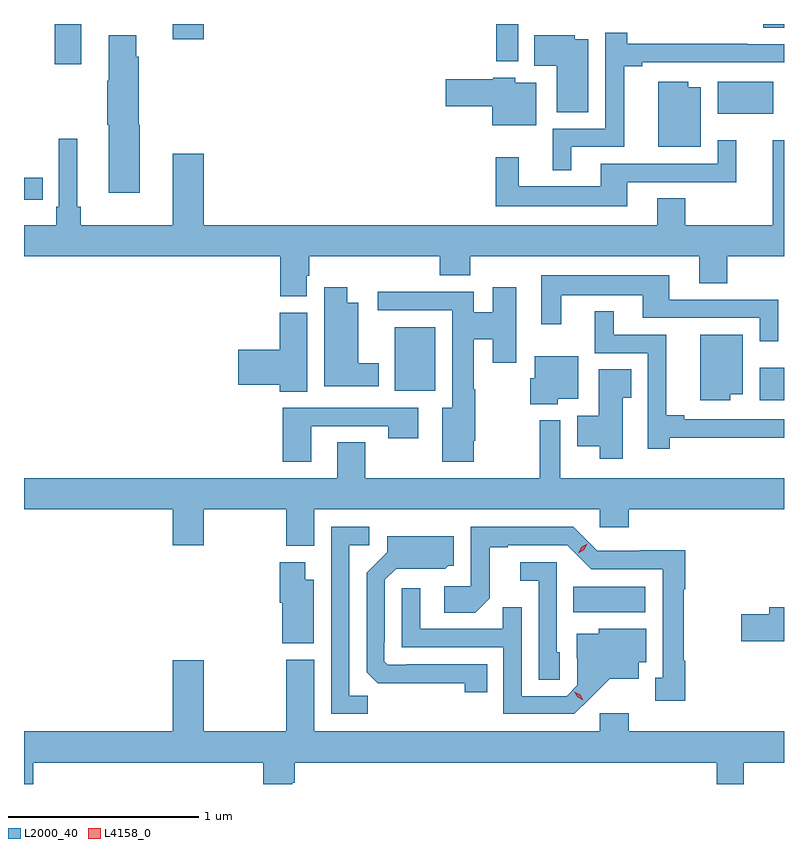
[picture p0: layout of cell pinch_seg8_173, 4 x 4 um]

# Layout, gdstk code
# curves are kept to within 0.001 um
import gdstk
lib = gdstk.Library(unit=1e-6, precision=1e-09)
def R(c, l, rs):  # rectangles x0, y0, x1, y1
    for r in rs: c.add(gdstk.rectangle(r[:2], r[2:], *l))
def P(c, l, *ps):  # polygons
    for p in ps: c.add(gdstk.Polygon(p, *l))
L2000_40 = (2000, 40)
L4158_0 = (4158, 0)

pinch_seg8_173 = lib.new_cell('pinch_seg8_173')
R(pinch_seg8_173, L2000_40, [(694.588,1146.596,694.969,1146.73), (695.57,1147.712,695.698,1147.882), (693.65,1147.76,693.862,1148.095), (691.698,1148.766,691.796,1148.882), (695.348,1149.218,695.641,1149.388), (691.859,1149.48,691.999,1149.691), (694.183,1149.494,694.299,1149.691), (692.48,1149.612,692.644,1149.691), (695.588,1149.67,695.698,1149.691)])
P(pinch_seg8_173, L2000_40, [(694.579,1149.045),(694.856,1149.045),(694.856,1149.469),(694.951,1149.469),(694.951,1149.489),(695.698,1149.489),(695.698,1149.585),(695.504,1149.585),(695.504,1149.587),(694.874,1149.587),(694.874,1149.646),(694.758,1149.646),(694.758,1149.141),(694.481,1149.141),(694.481,1148.921),(694.579,1148.921)],
  [(692.308,1149.162),(692.303,1149.162),(692.303,1149.518),(692.29,1149.518),(692.29,1149.631),(692.144,1149.631),(692.144,1149.392),(692.137,1149.392),(692.137,1149.162),(692.144,1149.162),(692.144,1148.804),(692.308,1148.804)],
  [(694.669,1149.61),(694.596,1149.61),(694.596,1149.631),(694.384,1149.631),(694.384,1149.47),(694.502,1149.47),(694.502,1149.226),(694.669,1149.226)],
  [(694.393,1149.382),(694.284,1149.382),(694.284,1149.409),(694.167,1149.409),(694.167,1149.399),(693.918,1149.399),(693.918,1149.257),(694.163,1149.257),(694.163,1149.158),(694.393,1149.158)],
  [(695.26,1149.358),(695.194,1149.358),(695.194,1149.388),(695.036,1149.388),(695.036,1149.044),(695.26,1149.044)],
  [(693.187,1148.367),(693.2,1148.367),(693.2,1148.468),(693.887,1148.468),(693.887,1148.369),(694.047,1148.369),(694.047,1148.468),(695.252,1148.468),(695.252,1148.326),(695.4,1148.326),(695.4,1148.468),(695.698,1148.468),(695.698,1149.079),(695.639,1149.079),(695.639,1148.632),(695.178,1148.632),(695.178,1148.774),(695.03,1148.774),(695.03,1148.632),(692.644,1148.632),(692.644,1149.007),(692.48,1149.007),(692.48,1148.632),(691.997,1148.632),(691.997,1148.728),(691.978,1148.728),(691.978,1149.088),(691.881,1149.088),(691.881,1148.728),(691.868,1148.728),(691.868,1148.632),(691.698,1148.632),(691.698,1148.468),(693.047,1148.468),(693.047,1148.257),(693.187,1148.257)],
  [(694.873,1148.859),(695.447,1148.859),(695.447,1149.079),(695.349,1149.079),(695.349,1148.955),(694.733,1148.955),(694.733,1148.836),(694.303,1148.836),(694.303,1148.989),(694.182,1148.989),(694.182,1148.732),(694.873,1148.732)],
  [(695.669,1148.241),(695.095,1148.241),(695.095,1148.368),(694.421,1148.368),(694.421,1148.112),(694.525,1148.112),(694.525,1148.264),(694.955,1148.264),(694.955,1148.145),(695.571,1148.145),(695.571,1148.022),(695.669,1148.022)],
  [(694.066,1147.498),(694.074,1147.498),(694.074,1147.768),(694.066,1147.768),(694.066,1148.033),(694.166,1148.033),(694.166,1147.908),(694.288,1147.908),(694.288,1148.305),(694.166,1148.305),(694.166,1148.175),(694.066,1148.175),(694.066,1148.282),(693.561,1148.282),(693.561,1148.184),(693.953,1148.184),(693.953,1147.672),(693.899,1147.672),(693.899,1147.386),(694.066,1147.386)],
  [(693.565,1147.906),(693.457,1147.906),(693.457,1148.224),(693.4,1148.224),(693.4,1148.305),(693.278,1148.305),(693.278,1147.784),(693.565,1147.784)],
  [(695.096,1147.514),(695.698,1147.514),(695.698,1147.611),(695.173,1147.611),(695.173,1147.631),(695.078,1147.631),(695.078,1148.055),(694.801,1148.055),(694.801,1148.179),(694.703,1148.179),(694.703,1147.959),(694.98,1147.959),(694.98,1147.455),(695.096,1147.455)],
  [(693.19,1148.172),(693.044,1148.172),(693.044,1147.976),(692.826,1147.976),(692.826,1147.793),(693.044,1147.793),(693.044,1147.756),(693.19,1147.756)],
  [(695.416,1147.742),(695.482,1147.742),(695.482,1148.056),(695.258,1148.056),(695.258,1147.712),(695.416,1147.712)],
  [(694.506,1147.718),(694.615,1147.718),(694.615,1147.942),(694.385,1147.942),(694.385,1147.827),(694.363,1147.827),(694.363,1147.691),(694.506,1147.691)],
  [(694.849,1147.723),(694.895,1147.723),(694.895,1147.874),(694.724,1147.874),(694.724,1147.63),(694.61,1147.63),(694.61,1147.469),(694.727,1147.469),(694.727,1147.404),(694.849,1147.404)],
  [(693.211,1147.575),(693.616,1147.575),(693.616,1147.512),(693.772,1147.512),(693.772,1147.671),(693.059,1147.671),(693.059,1147.386),(693.211,1147.386)],
  [(693.226,1147.136),(694.728,1147.136),(694.728,1147.043),(694.88,1147.043),(694.88,1147.136),(695.698,1147.136),(695.698,1147.3),(694.521,1147.3),(694.521,1147.606),(694.413,1147.606),(694.413,1147.3),(693.495,1147.3),(693.495,1147.49),(693.347,1147.49),(693.347,1147.3),(691.698,1147.3),(691.698,1147.136),(692.48,1147.136),(692.48,1146.948),(692.644,1146.948),(692.644,1147.136),(693.079,1147.136),(693.079,1146.944),(693.226,1146.944)],
  [(693.507,1146.155),(693.411,1146.155),(693.411,1146.948),(693.514,1146.948),(693.514,1147.044),(693.315,1147.044),(693.315,1146.06),(693.507,1146.06)],
  [(695.179,1146.341),(695.171,1146.341),(695.171,1146.715),(695.179,1146.715),(695.179,1146.92),(694.938,1146.92),(694.938,1146.918),(694.716,1146.918),(694.59,1147.044),(694.05,1147.044),(694.05,1146.732),(693.909,1146.732),(693.909,1146.592),(694.073,1146.592),(694.149,1146.668),(694.149,1146.936),(694.243,1146.936),(694.243,1146.948),(694.557,1146.948),(694.683,1146.822),(695.06,1146.822),(695.06,1146.249),(695.021,1146.249),(695.021,1146.129),(695.179,1146.129)],
  [(694.136,1146.321),(693.712,1146.321),(693.712,1146.318),(693.612,1146.318),(693.594,1146.336),(693.594,1146.436),(693.597,1146.436),(693.597,1146.765),(693.657,1146.825),(693.914,1146.824),(693.93,1146.84),(693.961,1146.84),(693.961,1146.994),(693.611,1146.994),(693.611,1146.912),(693.501,1146.802),(693.501,1146.28),(693.56,1146.221),(694.018,1146.22),(694.018,1146.174),(694.136,1146.174)],
  [(693.223,1146.766),(693.178,1146.766),(693.178,1146.859),(693.044,1146.859),(693.044,1146.645),(693.056,1146.645),(693.056,1146.431),(693.223,1146.431)],
  [(694.518,1146.384),(694.503,1146.384),(694.503,1146.858),(694.311,1146.858),(694.311,1146.761),(694.407,1146.761),(694.407,1146.241),(694.518,1146.241)],
  [(694.678,1146.143),(694.781,1146.245),(694.933,1146.245),(694.933,1146.332),(694.972,1146.332),(694.972,1146.508),(694.722,1146.508),(694.722,1146.481),(694.607,1146.481),(694.607,1146.352),(694.611,1146.352),(694.611,1146.21),(694.554,1146.153),(694.317,1146.153),(694.317,1146.62),(694.219,1146.62),(694.219,1146.507),(693.783,1146.507),(693.783,1146.721),(693.687,1146.721),(693.687,1146.411),(694.221,1146.411),(694.221,1146.06),(694.594,1146.06)],
  [(695.698,1146.62),(695.621,1146.62),(695.621,1146.584),(695.472,1146.584),(695.472,1146.442),(695.698,1146.442)],
  [(692.644,1146.343),(692.48,1146.343),(692.48,1145.968),(691.698,1145.968),(691.698,1145.691),(691.746,1145.691),(691.746,1145.804),(692.957,1145.804),(692.957,1145.691),(693.109,1145.691),(693.109,1145.698),(693.122,1145.698),(693.122,1145.804),(695.345,1145.804),(695.345,1145.691),(695.485,1145.691),(695.485,1145.804),(695.698,1145.804),(695.698,1145.968),(694.88,1145.968),(694.88,1146.064),(694.728,1146.064),(694.728,1145.968),(693.226,1145.968),(693.226,1146.346),(693.079,1146.346),(693.079,1145.968),(692.644,1145.968)])
P(pinch_seg8_173, L4158_0, [(694.614,1146.905),(694.614,1146.905),(694.631,1146.937),(694.663,1146.956),(694.663,1146.956),(694.663,1146.956),(694.646,1146.924),(694.614,1146.905)],
  [(694.642,1146.132),(694.612,1146.147),(694.594,1146.176),(694.594,1146.176),(694.594,1146.176),(694.625,1146.162),(694.642,1146.132),(694.642,1146.132)])

lib.write_gds('pinch_seg8_173.gds')
